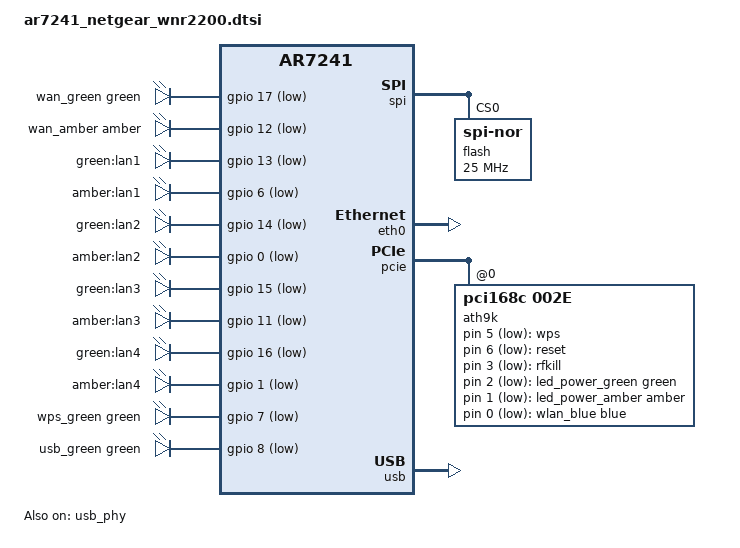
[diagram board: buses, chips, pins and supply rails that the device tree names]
// SPDX-License-Identifier: GPL-2.0-or-later OR MIT

#include "ar7241.dtsi"

#include <dt-bindings/gpio/gpio.h>
#include <dt-bindings/input/input.h>
#include <dt-bindings/leds/common.h>
#include <dt-bindings/mtd/partitions/uimage.h>

/ {
	chosen {
		bootargs = "console=ttyS0,115200n8";
	};

	aliases {
		led-boot = &led_power_amber;
		led-failsafe = &led_power_amber;
		led-running = &led_power_green;
		led-upgrade = &led_power_amber;
	};

	ath9k-keys {
		compatible = "gpio-keys-polled";
		poll-interval = <20>;

		wps {
			label = "wps";
			linux,code = <KEY_WPS_BUTTON>;
			gpios = <&ath9k 5 GPIO_ACTIVE_LOW>;
			debounce-interval = <60>;
		};

		reset {
			label = "reset";
			linux,code = <KEY_RESTART>;
			gpios = <&ath9k 6 GPIO_ACTIVE_LOW>;
			debounce-interval = <60>;
		};

		rfkill {
			label = "rfkill";
			linux,code = <KEY_RFKILL>;
			gpios = <&ath9k 3 GPIO_ACTIVE_LOW>;
			debounce-interval = <60>;
		};
	};

	leds {
		compatible = "gpio-leds";

		pinctrl-names = "default";
		pinctrl-0 = <&jtag_disable_pins &switch_led_disable_pins &clks_disable_pins>;

		wan_green {
			function = LED_FUNCTION_WAN;
			color = <LED_COLOR_ID_GREEN>;
			gpios = <&gpio 17 GPIO_ACTIVE_LOW>;
		};

		wan_amber {
			function = LED_FUNCTION_WAN;
			color = <LED_COLOR_ID_AMBER>;
			gpios = <&gpio 12 GPIO_ACTIVE_LOW>;
		};

		lan1_green {
			label = "green:lan1";
			gpios = <&gpio 13 GPIO_ACTIVE_LOW>;
		};

		lan1_amber {
			label = "amber:lan1";
			gpios = <&gpio 6 GPIO_ACTIVE_LOW>;
		};

		lan2_green {
			label = "green:lan2";
			gpios = <&gpio 14 GPIO_ACTIVE_LOW>;
		};

		lan2_amber {
			label = "amber:lan2";
			gpios = <&gpio 0 GPIO_ACTIVE_LOW>;
		};

		lan3_green {
			label = "green:lan3";
			gpios = <&gpio 15 GPIO_ACTIVE_LOW>;
		};

		lan3_amber {
			label = "amber:lan3";
			gpios = <&gpio 11 GPIO_ACTIVE_LOW>;
		};

		lan4_green {
			label = "green:lan4";
			gpios = <&gpio 16 GPIO_ACTIVE_LOW>;
		};

		lan4_amber {
			label = "amber:lan4";
			gpios = <&gpio 1 GPIO_ACTIVE_LOW>;
		};

		wps_green {
			function = LED_FUNCTION_WPS;
			color = <LED_COLOR_ID_GREEN>;
			gpios = <&gpio 7 GPIO_ACTIVE_LOW>;
		};

		usb_green {
			function = LED_FUNCTION_USB;
			color = <LED_COLOR_ID_GREEN>;
			gpios = <&gpio 8 GPIO_ACTIVE_LOW>;
			trigger-sources = <&hub_port>;
			linux,default-trigger = "usbport";
		};
	};

	ath9k-leds {
		compatible = "gpio-leds";

		led_power_green: power_green {
			function = LED_FUNCTION_POWER;
			color = <LED_COLOR_ID_GREEN>;
			gpios = <&ath9k 2 GPIO_ACTIVE_LOW>;
		};

		led_power_amber: power_amber {
			function = LED_FUNCTION_POWER;
			color = <LED_COLOR_ID_AMBER>;
			gpios = <&ath9k 1 GPIO_ACTIVE_LOW>;
			default-state = "keep";
		};

		wlan_blue {
			function = LED_FUNCTION_WLAN;
			color = <LED_COLOR_ID_BLUE>;
			gpios = <&ath9k 0 GPIO_ACTIVE_LOW>;
			linux,default-trigger = "phy0tpt";
		};
	};
};

&spi {
	status = "okay";

	flash@0 {
		compatible = "jedec,spi-nor";
		reg = <0>;
		spi-max-frequency = <25000000>;

		partitions: partitions {
			compatible = "fixed-partitions";
			#address-cells = <1>;
			#size-cells = <1>;
		};
	};
};

&eth0 {
	status = "okay";
};

&eth1 {
	compatible = "qca,ar7241-eth", "syscon", "simple-mfd";
};

&pcie {
	status = "okay";

	ath9k: wifi@0,0 {
		compatible = "pci168c,002e";
		reg = <0x0000 0 0 0 0>;
		qca,no-eeprom;
		#gpio-cells = <2>;
		gpio-controller;

		usb_power {
			gpio-hog;
			line-name = "netgear:power:usb";
			gpios = <4 GPIO_ACTIVE_HIGH>;
			output-high;
		};
	};
};

&usb_phy {
	status = "okay";
};

&usb {
	status = "okay";
};
